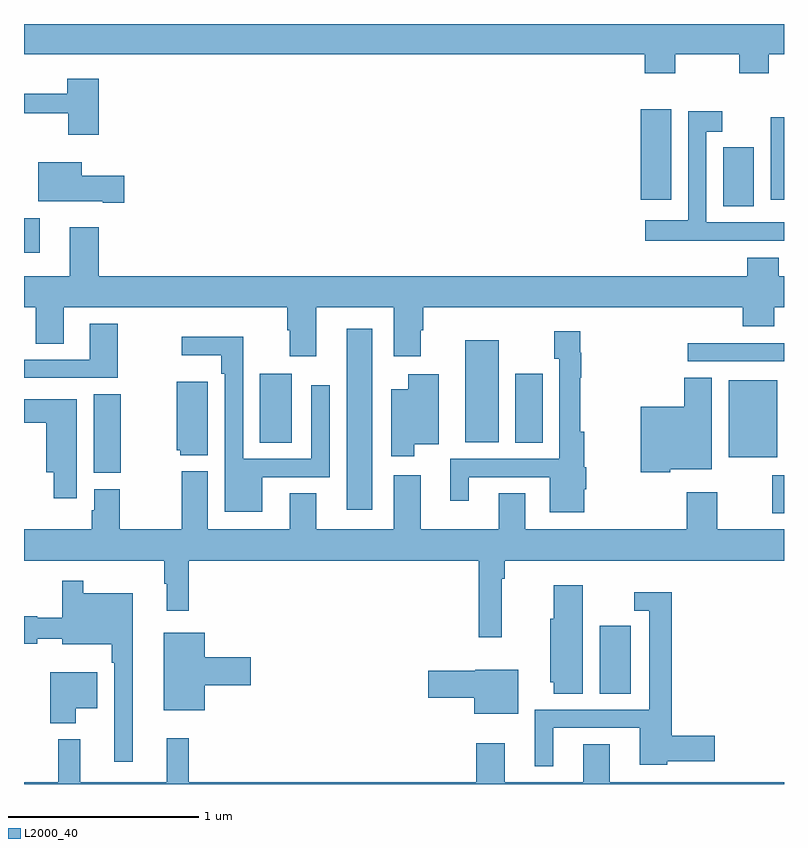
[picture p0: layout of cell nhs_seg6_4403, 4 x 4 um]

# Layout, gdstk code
import gdstk
lib = gdstk.Library(unit=1e-6, precision=1e-09)
def R(c, l, rs):  # rectangles x0, y0, x1, y1
    for r in rs: c.add(gdstk.rectangle(r[:2], r[2:], *l))
def P(c, l, *ps):  # polygons
    for p in ps: c.add(gdstk.Polygon(p, *l))
L2000_40 = (2000, 40)

nhs_seg6_4403 = lib.new_cell('nhs_seg6_4403')
R(nhs_seg6_4403, L2000_40, [(374.03,939.976,374.194,940.333), (374.938,940.926,375,941.124), (372.698,940.944,372.832,941.896), (371.366,941.137,371.508,941.552), (374.708,941.219,374.965,941.626), (372.242,941.296,372.409,941.659), (373.586,941.296,373.729,941.659), (373.322,941.3,373.498,941.836), (374.493,941.724,375,941.82), (371,942.297,371.083,942.477), (374.681,942.541,374.842,942.852), (374.246,942.576,374.407,943.051), (374.93,942.576,375,943.009)])
P(nhs_seg6_4403, L2000_40, [(374.427,943.34),(374.764,943.34),(374.764,943.241),(374.919,943.241),(374.919,943.34),(375,943.34),(375,943.5),(371,943.5),(371,943.34),(374.267,943.34),(374.267,943.241),(374.427,943.241)],
  [(371.393,943.213),(371.228,943.213),(371.228,943.133),(371,943.133),(371,943.03),(371.233,943.03),(371.233,942.918),(371.393,942.918)],
  [(374.689,942.36),(375,942.36),(375,942.456),(374.592,942.456),(374.592,942.933),(374.674,942.933),(374.674,943.042),(374.496,943.042),(374.496,942.466),(374.271,942.466),(374.271,942.359),(374.689,942.359)],
  [(371.527,942.701),(371.305,942.701),(371.305,942.772),(371.075,942.772),(371.075,942.566),(371.414,942.566),(371.414,942.559),(371.527,942.559)],
  [(372.538,942.008),(372.947,942.008),(372.947,941.751),(373.087,941.751),(373.087,941.888),(373.1,941.888),(373.1,942.008),(374.783,942.008),(374.783,941.909),(374.948,941.909),(374.948,942.008),(375,942.008),(375,942.172),(374.972,942.172),(374.972,942.271),(374.807,942.271),(374.807,942.172),(371.393,942.172),(371.393,942.43),(371.24,942.43),(371.24,942.172),(371,942.172),(371,942.008),(371.062,942.008),(371.062,941.818),(371.209,941.818),(371.209,942.008),(372.386,942.008),(372.386,941.888),(372.398,941.888),(372.398,941.751),(372.538,941.751)],
  [(371.493,941.923),(371.345,941.923),(371.345,941.733),(371,941.733),(371,941.637),(371.493,941.637)],
  [(373.948,941.052),(373.96,941.052),(373.96,941.166),(373.948,941.166),(373.948,941.353),(373.927,941.353),(373.927,941.639),(373.934,941.639),(373.934,941.771),(373.927,941.771),(373.927,941.884),(373.792,941.884),(373.792,941.739),(373.818,941.739),(373.818,941.211),(373.244,941.211),(373.244,940.992),(373.342,940.992),(373.342,941.115),(373.766,941.115),(373.766,940.931),(373.948,940.931)],
  [(372.253,941.115),(372.609,941.115),(372.609,941.599),(372.513,941.599),(372.513,941.211),(372.153,941.211),(372.153,941.854),(371.829,941.854),(371.829,941.756),(372.037,941.756),(372.037,941.66),(372.057,941.66),(372.057,940.934),(372.253,940.934)],
  [(373.054,941.288),(373.183,941.288),(373.183,941.656),(373.022,941.656),(373.022,941.578),(372.932,941.578),(372.932,941.226),(373.054,941.226)],
  [(374.4,941.156),(374.62,941.156),(374.62,941.639),(374.474,941.639),(374.474,941.485),(374.246,941.485),(374.246,941.141),(374.4,941.141)],
  [(371.968,941.617),(371.804,941.617),(371.804,941.256),(371.823,941.256),(371.823,941.231),(371.968,941.231)],
  [(371.278,941.524),(371,941.524),(371,941.402),(371.117,941.402),(371.117,941.141),(371.156,941.141),(371.156,941.004),(371.278,941.004)],
  [(373.514,940.58),(373.529,940.58),(373.529,940.676),(375,940.676),(375,940.84),(374.649,940.84),(374.649,941.035),(374.489,941.035),(374.489,940.84),(373.639,940.84),(373.639,941.03),(373.499,941.03),(373.499,940.84),(373.087,940.84),(373.087,941.125),(372.947,941.125),(372.947,940.84),(372.538,940.84),(372.538,941.03),(372.398,941.03),(372.398,940.84),(371.968,940.84),(371.968,941.146),(371.83,941.146),(371.83,940.84),(371.505,940.84),(371.505,941.052),(371.369,941.052),(371.369,940.941),(371.357,940.941),(371.357,940.84),(371,940.84),(371,940.676),(371.739,940.676),(371.739,940.553),(371.75,940.553),(371.75,940.413),(371.867,940.413),(371.867,940.676),(373.393,940.676),(373.393,940.272),(373.514,940.272)],
  [(371.572,940.504),(371.311,940.504),(371.311,940.57),(371.201,940.57),(371.201,940.375),(371.07,940.375),(371.07,940.383),(371,940.383),(371,940.238),(371.07,940.238),(371.07,940.265),(371.201,940.265),(371.201,940.235),(371.463,940.235),(371.463,940.139),(371.475,940.139),(371.475,939.618),(371.572,939.618)],
  [(373.942,940.546),(373.787,940.546),(373.787,940.371),(373.769,940.371),(373.769,940.035),(373.787,940.035),(373.787,939.976),(373.942,939.976)],
  [(373.786,939.795),(374.24,939.795),(374.24,939.602),(374.385,939.602),(374.385,939.62),(374.635,939.62),(374.635,939.755),(374.408,939.755),(374.408,940.51),(374.211,940.51),(374.211,940.413),(374.292,940.413),(374.292,939.891),(373.688,939.891),(373.688,939.594),(373.786,939.594)],
  [(371.95,940.019),(372.193,940.019),(372.193,940.166),(371.95,940.166),(371.95,940.297),(371.735,940.297),(371.735,939.887),(371.95,939.887)],
  [(373.6,940.102),(373.374,940.102),(373.374,940.097),(373.128,940.097),(373.128,939.955),(373.37,939.955),(373.37,939.869),(373.6,939.869)],
  [(371.272,939.899),(371.386,939.899),(371.386,940.087),(371.138,940.087),(371.138,939.821),(371.272,939.821)],
  [(375,939.508),(374.083,939.508),(374.083,939.71),(373.943,939.71),(373.943,939.508),(373.531,939.508),(373.531,939.715),(373.379,939.715),(373.379,939.508),(371.867,939.508),(371.867,939.742),(371.75,939.742),(371.75,939.508),(371.297,939.508),(371.297,939.736),(371.179,939.736),(371.179,939.508),(371,939.508),(371,939.5),(375,939.5)])

lib.write_gds('nhs_seg6_4403.gds')
